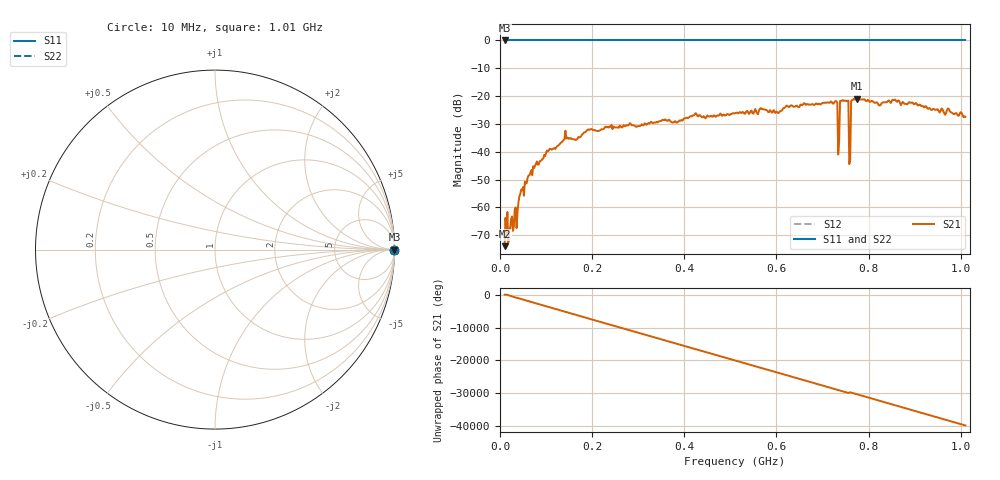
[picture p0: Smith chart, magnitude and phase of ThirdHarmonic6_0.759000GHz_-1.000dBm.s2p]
! 8/16/2025 1:22:49 AM
! C:\ANRITSUVNA\TEMP\TEMP.S2P
! CHANNEL.1
! TR.MEASUREMENT
! RAW.DATA
! RF.CORRECTION.OFF
! AVERAGING.OFF
! IF.BANDWIDTH: 5KHZ
! SWEEPTYPE:  FREQ.SWEEP(Linear)
! Reference Plane Port Info
! PORT:  PORT1  PORT2
! DISTANCE:  0  m  0  m
! TIME:  0  s  0  s
! PHASE.OFFSET:  0  deg.  0  deg.
! LOSS:  0  dB  0  dB
! REF.LOSS:  0  dB  0  dB
! REF.FREQ:  0  Hz  0  Hz
! Power Info
! POWER:  -20  dBm  -20  dBm
! EFF.POWER:  -20  dBm  -20  dBm
! SOURCE.ATTEN:  0  dB  0  dB
! TEST.ATTEN:  0  dB  0  dB
# GHZ S RI R 50.0
! FREQ.GHZ  S11RE  S11IM  S21RE  S21IM  S12RE  S12IM  S22RE  S22IM
!; PortSelection: Port_12
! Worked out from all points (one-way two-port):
!   501 points, 10 MHz to 1.01 GHz, reference 50 ohm
!   highest |S21| = -20.88 dB at 774 MHz (marker M1); lowest = -73.9 dB at 10 MHz (marker M2)
!   lowest |S11| = 0.0 dB at 10 MHz (marker M3)
!   |S11| at or under -10 dB: nowhere
!   |S22| runs from 0.0 to 0.0 dB; largest |S21 - S12| = 1.1
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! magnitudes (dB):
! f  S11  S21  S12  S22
! 10 MHz  0.0  -73.9  0.0  0.0
! 16 MHz  0.0  -61.7  0.0  0.0
! 32 MHz  0.0  -60.8  0.0  0.0
! 46 MHz  0.0  -53.6  0.0  0.0
! 76 MHz  0.0  -45.0  0.0  0.0
! 142 MHz  0.0  -32.5  0.0  0.0
! 178 MHz  0.0  -33.8  0.0  0.0
! 344 MHz  0.0  -29.2  0.0  0.0
! 510 MHz  0.0  -26.2  0.0  0.0
! 678 MHz  0.0  -22.8  0.0  0.0
! 728 MHz  0.0  -21.8  0.0  0.0
! 732 MHz  0.0  -22.4  0.0  0.0
! 736 MHz  0.0  -35.9  0.0  0.0
! 742 MHz  0.0  -21.7  0.0  0.0
! 752 MHz  0.0  -21.8  0.0  0.0
! 756 MHz  0.0  -21.6  0.0  0.0
! 758 MHz  0.0  -44.4  0.0  0.0
! 762 MHz  0.0  -21.8  0.0  0.0
! 766 MHz  0.0  -21.3  0.0  0.0
! 774 MHz  0.0  -20.9  0.0  0.0
! 844 MHz  0.0  -21.5  0.0  0.0
! 1.01 GHz  0.0  -27.4  0.0  0.0
